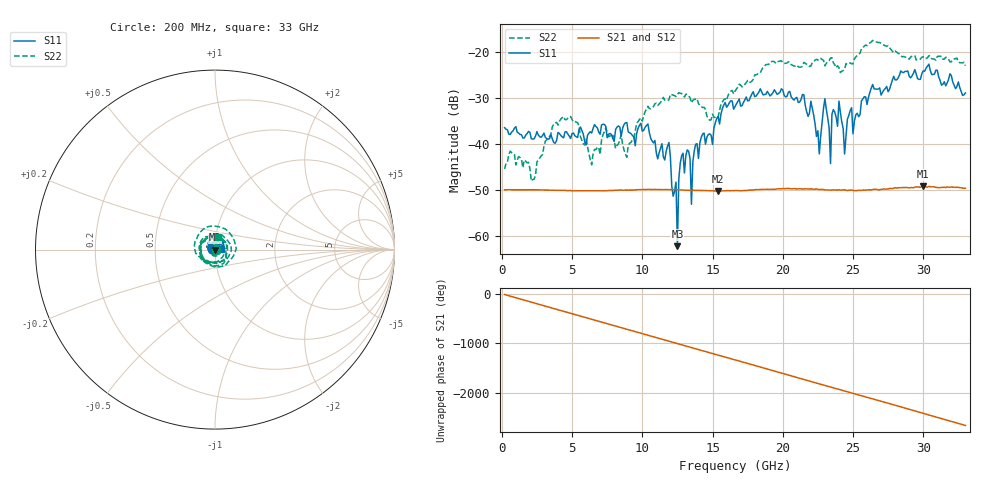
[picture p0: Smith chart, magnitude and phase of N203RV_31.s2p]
# GHZ S RI R 50
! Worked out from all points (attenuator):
!   329 points, 200 MHz to 33 GHz, reference 50 ohm
!   highest |S21| = -49.18 dB at 30 GHz (marker M1); lowest = -50.2 dB at 15.4 GHz (marker M2)
!   lowest |S11| = -62.2 dB at 12.5 GHz (marker M3), VSWR 1.00, Z = 49.9 + j0.0542 ohm
!   |S11| at or under -10 dB: start of sweep to end of sweep
!   |S22| runs from -48.0 to -17.4 dB; largest |S21 - S12| = 7.3e-05
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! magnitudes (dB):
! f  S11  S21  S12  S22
! 200 MHz  -36.4  -50.0  -49.9  -45.4
! 5.7 GHz  -37.0  -50.2  -50.1  -39.2
! 11.2 GHz  -41.9  -49.9  -49.9  -31.2
! 11.9 GHz  -39.6  -49.9  -49.9  -30.3
! 12.4 GHz  -48.3  -49.9  -49.9  -29.6
! 12.5 GHz  -62.2  -49.9  -49.9  -29.2
! 12.8 GHz  -42.5  -50.0  -49.9  -29.0
! 13.3 GHz  -41.5  -50.0  -50.0  -29.4
! 13.5 GHz  -53.1  -50.1  -50.1  -31.0
! 13.8 GHz  -40.0  -50.1  -50.1  -30.2
! 15.4 GHz  -34.0  -50.2  -50.2  -34.1
! 16.6 GHz  -31.8  -50.1  -50.1  -28.5
! 22.1 GHz  -32.2  -49.8  -49.7  -22.2
! 22.6 GHz  -42.1  -49.9  -49.8  -21.3
! 23 GHz  -30.1  -50.0  -50.0  -22.9
! 23.4 GHz  -44.2  -50.0  -50.0  -21.2
! 23.5 GHz  -33.5  -50.0  -50.0  -21.1
! 24 GHz  -30.6  -49.9  -50.0  -23.3
! 24.4 GHz  -42.1  -49.9  -49.9  -23.7
! 27.6 GHz  -28.0  -49.7  -49.7  -19.0
! 30 GHz  -24.0  -49.2  -49.3  -20.9
! 33 GHz  -28.8  -49.6  -49.6  -22.9
